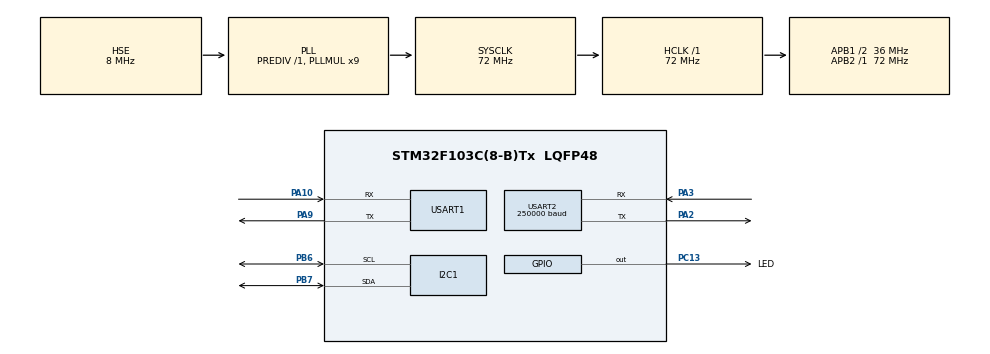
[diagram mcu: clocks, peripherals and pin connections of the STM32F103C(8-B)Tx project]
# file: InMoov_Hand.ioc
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Dma.Request0=USART1_RX
Dma.Request1=USART2_TX
Dma.USART1_RX.0.Direction=DMA_PERIPH_TO_MEMORY
Dma.USART1_RX.0.Instance=DMA1_Channel5
Dma.USART1_RX.0.MemDataAlignment=DMA_MDATAALIGN_BYTE
Dma.USART1_RX.0.MemInc=DMA_MINC_ENABLE
Dma.USART1_RX.0.Mode=DMA_CIRCULAR
Dma.USART1_RX.0.PeriphDataAlignment=DMA_PDATAALIGN_BYTE
Dma.USART1_RX.0.PeriphInc=DMA_PINC_DISABLE
Dma.USART1_RX.0.Priority=DMA_PRIORITY_LOW
Dma.USART2_TX.1.Direction=DMA_MEMORY_TO_PERIPH
Dma.USART2_TX.1.Instance=DMA1_Channel7
Dma.USART2_TX.1.MemDataAlignment=DMA_MDATAALIGN_BYTE
Dma.USART2_TX.1.MemInc=DMA_MINC_ENABLE
Dma.USART2_TX.1.Mode=DMA_NORMAL
Dma.USART2_TX.1.PeriphDataAlignment=DMA_PDATAALIGN_BYTE
Dma.USART2_TX.1.PeriphInc=DMA_PINC_DISABLE
Dma.USART2_TX.1.Priority=DMA_PRIORITY_LOW
Mcu.Family=STM32F1
Mcu.Name=STM32F103C(8-B)Tx
Mcu.Package=LQFP48
NVIC.DMA1_Channel5_IRQn=true\:0\:0\:false\:false\:true\:false\:true\:true
NVIC.DMA1_Channel7_IRQn=true\:0\:0\:false\:false\:true\:false\:true\:true
NVIC.PriorityGroup=NVIC_PRIORITYGROUP_4
NVIC.USART1_IRQn=true\:0\:0\:false\:false\:true\:true\:true\:true
NVIC.USART2_IRQn=true\:0\:0\:false\:false\:true\:true\:true\:true
PA10.Mode=Asynchronous
PA10.Signal=USART1_RX
PA2.Mode=Asynchronous
PA2.Signal=USART2_TX
PA3.Mode=Asynchronous
PA3.Signal=USART2_RX
PA9.Mode=Asynchronous
PA9.Signal=USART1_TX
PB6.Mode=I2C
PB6.Signal=I2C1_SCL
PB7.Mode=I2C
PB7.Signal=I2C1_SDA
PC13-TAMPER-RTC.GPIO_Label=LED
PC13-TAMPER-RTC.Signal=GPIO_Output
PD0-OSC_IN.Mode=HSE-External-Oscillator
PD0-OSC_IN.Signal=RCC_OSC_IN
PD1-OSC_OUT.Mode=HSE-External-Oscillator
PD1-OSC_OUT.Signal=RCC_OSC_OUT
ProjectManager.HeapSize=0x200
ProjectManager.StackSize=0x400
ProjectManager.TargetToolchain=STM32CubeIDE
RCC.AHBFreq_Value=72000000
RCC.APB1CLKDivider=RCC_HCLK_DIV2
RCC.APB1Freq_Value=36000000
RCC.APB1TimFreq_Value=72000000
RCC.APB2Freq_Value=72000000
RCC.APB2TimFreq_Value=72000000
RCC.HCLKFreq_Value=72000000
RCC.PLLMUL=RCC_PLL_MUL9
RCC.PLLSourceVirtual=RCC_PLLSOURCE_HSE
RCC.SYSCLKFreq_VALUE=72000000
RCC.SYSCLKSource=RCC_SYSCLKSOURCE_PLLCLK
RCC.USBFreq_Value=72000000
USART1.VirtualMode=VM_ASYNC
USART2.BaudRate=250000
USART2.VirtualMode=VM_ASYNC
VP_SYS_VS_ND.Mode=No_Debug
board=custom

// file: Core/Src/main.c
/* USER CODE BEGIN Header */
/**
  ******************************************************************************
  * @file    main.c
  * @brief   Bluepill STM32F103 — Slave controller (UART1 DMA + framed control)
  *
  * Features:
  *  - UART1 RX via DMA + IDLE (ISR feeds streaming parser)
  *  - Frames: A (angles), V (per-finger ms/deg), A+V, G (global ms/deg)
  *  - Flags: MODE:(MANUAL|AUTO), LOOP:(0|1), N:(motor count up to MAX_MOTORS)
  *  - Step-per-degree motion (default 30 ms/deg), per-finger latching on V>0
  *  - Watchdog -> glide to SAFE pose if master silent (AUTO mode only)
  *  - UART2 telemetry: ETA:ms on new move, DONE on arrival, ERR:WATCHDOG
  *
  * Master: Raspberry Pi / Node-RED (or any host)
  * Slave : STM32 “Bluepill”
  ******************************************************************************
  ***********Robotic Arm Motorized- Genaric Hand control Via Node-RED***********
  ******************************************************************************
  */
/* USER CODE END Header */
#include "main.h"
#include "dma.h"
#include "i2c.h"
#include "usart.h"
#include "gpio.h"

/* USER CODE BEGIN Includes */
#include <string.h>
#include <stdio.h>
#include "uart_dma.h"     // U1RX_Init / U1RX_Start / U1RX_OnUsartIrq
#include "motor_frame.h"  // updated streaming parser API (A,V,G,N,MODE,LOOP + legacy)
#include "PCA9685.h"
#include "log_uart.h"		// System logging on UART2

/* USER CODE END Includes */

/* USER CODE BEGIN PTD */
typedef struct {
  uint16_t angle;             // target angle (0..180)
  uint16_t speed_ms_per_deg;  // ms/degree (never 0 here; 0 only means "ignore" on input)
} FingerData;

typedef struct {
  uint16_t current;           // current servo angle
  uint16_t target;            // target servo angle
  uint16_t step_delay_ms;     // ms/degree for this channel
  uint32_t next_step_ms;      // next scheduling tick (HAL_GetTick-based)
} FingerMotion;
/* USER CODE END PTD */

/* USER CODE BEGIN PD */
#define SERVO_NUM				8u	// Number of servos by default
#define MAX_MOTORS              16u      // compile-time ceiling to bound RAM
#define UART2_TX_TIMEOUT_MS     5u
#define TX_THROTTLE_MS          20u
#define DEFAULT_STEP_DELAY_MS   20u      // default speed = 20 ms/deg
#define SERVO_MIN_ANGLE         0
#define SERVO_MAX_ANGLE         180
#define WATCHDOG_MS             800u     // no valid frame -> failsafe
#define I2C_WRITES_PER_LOOP     6u   // how many PCA writes we allow per loop
#define STALL_MS                800u // no movement progress for this long => recover

#ifndef MIN
#define MIN(a,b) ((a)<(b)?(a):(b))
#endif
/* USER CODE END PD */

/* USER CODE BEGIN PV */
static uint8_t   	g_motor_count = 8;                // runtime channels (clamped to SERVO_NUM)
static uint16_t 	g_global_ms_per_deg = DEFAULT_STEP_DELAY_MS;
static FingerData   g_finger[MAX_MOTORS];
static FingerMotion g_motion[MAX_MOTORS];
static uint16_t     g_servo_id[MAX_MOTORS];
static uint8_t      g_speed_latched[MAX_MOTORS];   // 0 = default, 1 = explicit speed set

// Safe pose (customize per build if desired)
static uint16_t SAFE_POSE[MAX_MOTORS] = { 0,0,0,0,0,90,0,0,  0,0,0,0,0,0,0,0 };

// For AUTO + LOOP ping-pong
static uint16_t g_last_cmd_angles[MAX_MOTORS];
static uint8_t  g_have_last_cmd = 0;
static uint8_t  g_auto_flip = 0;

// Timers/state
static uint32_t s_last_tx_ms  = 0;                 // telemetry throttle
static uint32_t s_last_cmd_ms = 0;                 // last command time (watchdog)
static uint32_t s_move_start_ms = 0;               // Move start timestamp
static uint8_t  s_step_active = 0;                 // motion in progress
static uint8_t  s_in_failsafe = 0;                 // failsafe already engaged
/* USER CODE END PV */

void SystemClock_Config(void);
/* USER CODE BEGIN PFP */
static inline uint16_t clamp_u16(int v, int lo, int hi){
	v = (v < lo) ? lo : (v > hi ? hi : v);
	    return (uint16_t)v;
}
static void send_line(UART_HandleTypeDef* huart,const char *s);
static void send_snapshot_uart2(void);
static void Motion_Init(uint8_t count);
static void Motion_Update(uint8_t count);
static uint8_t all_reached(uint8_t count);
static void apply_targets_from_parser(uint32_t mask, uint8_t count, uint8_t *out_touched_angles);
static void handle_meta_updates(void);

// Make the recover available to main.c
void PCA9685_BusRecover(void) {
  HAL_I2C_DeInit(&hi2c1);
  HAL_Delay(2);
  MX_I2C1_Init();
  HAL_Delay(1);
}

/* USER CODE END PFP */

int main(void)
{

  /* MCU Configuration--------------------------------------------------------*/

  /* Reset of all peripherals, Initializes the Flash interface and the Systick. */
  HAL_Init();

  /* Configure the system clock */
  SystemClock_Config();

  /* Initialize all configured peripherals */
  MX_GPIO_Init();
  MX_DMA_Init();
  MX_USART2_UART_Init();
  MX_USART1_UART_Init();
  MX_I2C1_Init();
  /* USER CODE BEGIN 2 */
  LOG_Init(&huart2);
  /* Boot banner */
  LOGI("Booting Bluepill slave (UART1 DMA+CIRCULAR, I2C1 PB6/PB7) - Version V1.1");

  U1RX_Init(&huart1);   // config UART1 for DMA circular + IDLE
  U1RX_Start();         // starts HAL_UART_Receive_DMA + enables UART_IT_IDLE
  LOGI("Init PCA9685 @ 50Hz");
    PCA9685_Init(50);

    /* Determine initial motor count (clamped to hardware) */
    uint8_t req = MF_GetMotorCount();                 // parser default=8 before any N:
    g_motor_count = MIN(MAX_MOTORS, (req ? req : g_motor_count));
    if (g_motor_count == 0) g_motor_count = 8;        // safe boot default

      /* Initialize the outputs for the available channels */
      for (uint8_t i = 0; i < g_motor_count; i++) {
        g_servo_id[i] = i;	// Intilaize the Instance for Motors 0-15

//	char line[32];
//			int n = snprintf(line, sizeof(line), "Servo Instance:%u Init\n", i);
//			if (n>0) send_line(&huart2, line);
			LOGI("Servo Instance initialized %u \n",g_servo_id[i]);
      }

      /* Initialize local motion state */
      Motion_Init(g_motor_count);

      /* Visual heartbeat */
      for (int i = 0; i < 6; i++) { HAL_GPIO_TogglePin(LED_GPIO_Port, LED_Pin); HAL_Delay(80); }

      s_last_cmd_ms = HAL_GetTick();
      s_in_failsafe = 0;
      LOGI("System Started\n");
  /* USER CODE END 2 */

  /* Infinite loop */
  /* USER CODE BEGIN WHILE */
  while (1)
  {
	LOG_Poll();   // keep UART2 DMA moving
//	LOGI("System While Loop Start\n");
    /* USER CODE END WHILE */

    /* USER CODE BEGIN 3 */
    /* 1) Handle meta updates (MODE / LOOP / N:count / G:global speed) */
    handle_meta_updates();
    /* 2) Handle per-motor updates (A / V / A+V / legacy F-records) */
    uint8_t touched_angles = 0;
    uint32_t mask = MF_GetUpdatedMask();
    if (mask) {

      apply_targets_from_parser(mask, g_motor_count, &touched_angles);
      MF_ClearUpdatedMask(mask);

      // Mark timing/status for this batch
      s_step_active = 1;
      s_move_start_ms = s_last_cmd_ms = HAL_GetTick();
      s_in_failsafe = 0;

       uint32_t now = HAL_GetTick();
      if ((now - s_last_tx_ms) >= TX_THROTTLE_MS) {
        send_snapshot_uart2();
        LOGD("Snapshot: %u motors; F1:%u,%u ...", g_motor_count, g_motion[0].target, g_motion[0].step_delay_ms);
        HAL_GPIO_TogglePin(LED_GPIO_Port, LED_Pin);
        s_last_tx_ms = now;
      }
    }

    /* 3) Step the motion planner (non-blocking) */
    Motion_Update(g_motor_count);
    /* Progress watchdog: if we're "moving" but angle sum hasn't changed for a while,
       the bus is likely wedged. Recover I2C, re-init PCA, and re-send current angles. */
    {
      static uint32_t last_sum = 0, last_progress_ms = 0;
      uint32_t now = HAL_GetTick();

      // Sum of current angles as a cheap movement-progress proxy
      uint32_t sum = 0;
      for (uint8_t i=0;i<g_motor_count;i++) sum += g_motion[i].current;

      if (s_step_active) {
        if (sum != last_sum) {
          last_sum = sum;
          last_progress_ms = now;
        } else if ((now - last_progress_ms) > STALL_MS) {
          // 1) Bus recover + PCA re-init
          HAL_I2C_DeInit(&hi2c1); HAL_Delay(2); MX_I2C1_Init(); HAL_Delay(1);
          PCA9685_Init(50);

          // 2) Re-send the *current* angles so the chip and our state are in sync
          for (uint8_t i=0;i<g_motor_count;i++) {
            PCA9685_SetServoAngle(g_servo_id[i], g_motion[i].current);
            g_motion[i].next_step_ms = now; // nudge next steps immediately
          }

          // 3) Tell the host (UART1) and your console (UART2)
          send_line(&huart1, "ERR:I2CSTALL\n");
          LOGI("I2C recovered & PCA re-synced");

          last_progress_ms = now; // reset stall timer
        }
      } else {
        last_sum = sum;
        last_progress_ms = now;
      }
    }

    /* 4) Completion notification (DONE) + optional AUTO loop */
    if (s_step_active) {
      if (all_reached(g_motor_count)) {
        uint32_t elapsed_ms = HAL_GetTick() - s_move_start_ms;
        char line[32];
        int n = snprintf(line, sizeof(line), "ELAPSED:%lu\n", (unsigned long)elapsed_ms);
        if (n>0) send_line(&huart1, line);
        send_line(&huart1,"DONE\n");
        s_last_cmd_ms = HAL_GetTick();   // grace time after completion
        s_step_active = 0;

        if (MF_GetMode() == MF_MODE_AUTO && g_have_last_cmd) {
          g_auto_flip ^= 1;
          for (uint8_t i=0;i<g_motor_count;i++){
            uint16_t tgt = g_auto_flip ? SAFE_POSE[i] : g_last_cmd_angles[i];
            g_motion[i].target = tgt;
          }
          s_step_active = 1;
          s_last_cmd_ms = HAL_GetTick();
        }
      }
    }

    /* 5) RX watchdog -> glide to SAFE pose once (disabled in MANUAL mode) */
    uint32_t now = HAL_GetTick();
    uint8_t mode = MF_GetMode();
    if (!s_in_failsafe
        && WATCHDOG_MS
        && (mode == MF_MODE_AUTO)   /* only enforce WD in AUTO */
        && (now - s_last_cmd_ms) > WATCHDOG_MS)
    {
      for (uint8_t i=0;i<g_motor_count;i++){
        g_motion[i].target        = SAFE_POSE[i];
        g_motion[i].step_delay_ms = DEFAULT_STEP_DELAY_MS;
      }
      s_in_failsafe = 1;
      send_line(&huart1,"ERR:WATCHDOG\n");
      s_last_cmd_ms = now;  // avoid RX watchdog during recovery

    }
  }
  /* USER CODE END 3 */
}

void SystemClock_Config(void)
{
  RCC_OscInitTypeDef RCC_OscInitStruct = {0};
  RCC_ClkInitTypeDef RCC_ClkInitStruct = {0};

  /** Initializes the RCC Oscillators according to the specified parameters
  * in the RCC_OscInitTypeDef structure.
  */
  RCC_OscInitStruct.OscillatorType = RCC_OSCILLATORTYPE_HSE;
  RCC_OscInitStruct.HSEState = RCC_HSE_ON;
  RCC_OscInitStruct.HSEPredivValue = RCC_HSE_PREDIV_DIV1;
  RCC_OscInitStruct.HSIState = RCC_HSI_ON;
  RCC_OscInitStruct.PLL.PLLState = RCC_PLL_ON;
  RCC_OscInitStruct.PLL.PLLSource = RCC_PLLSOURCE_HSE;
  RCC_OscInitStruct.PLL.PLLMUL = RCC_PLL_MUL9;
  if (HAL_RCC_OscConfig(&RCC_OscInitStruct) != HAL_OK)
  {
    Error_Handler();
  }

  /** Initializes the CPU, AHB and APB buses clocks
  */
  RCC_ClkInitStruct.ClockType = RCC_CLOCKTYPE_HCLK|RCC_CLOCKTYPE_SYSCLK
                              |RCC_CLOCKTYPE_PCLK1|RCC_CLOCKTYPE_PCLK2;
  RCC_ClkInitStruct.SYSCLKSource = RCC_SYSCLKSOURCE_PLLCLK;
  RCC_ClkInitStruct.AHBCLKDivider = RCC_SYSCLK_DIV1;
  RCC_ClkInitStruct.APB1CLKDivider = RCC_HCLK_DIV2;
  RCC_ClkInitStruct.APB2CLKDivider = RCC_HCLK_DIV1;

  if (HAL_RCC_ClockConfig(&RCC_ClkInitStruct, FLASH_LATENCY_2) != HAL_OK)
  {
    Error_Handler();
  }
}

/* USER CODE BEGIN 4 */
/* ────────────────────────── Local helpers ───────────────────────────────── */
static void send_line(UART_HandleTypeDef* huart, const char *s)
{
  HAL_UART_Transmit(huart, (uint8_t*)s, (uint16_t)strlen(s), 100);
}

/* Human-readable mirror on UART2: "F#:angle,speed;..." */
static void send_snapshot_uart2(void)
{
  char line[192];
  int off = snprintf(line, sizeof(line), "SNAP N=%u |", g_motor_count);
  for (uint8_t i = 0; i < g_motor_count && off < (int)sizeof(line)-12; ++i) {
    off += snprintf(line+off, sizeof(line)-off, " %u:%u,%u;", i,
                    (unsigned)g_motion[i].target,
                    (unsigned)g_motion[i].step_delay_ms);
  }
  LOGI("%s", line);
}

/* Initialize motion tables to SAFE pose at default speed */
static void Motion_Init(uint8_t count)
{
	TRACE_IN();

  uint32_t now = HAL_GetTick();

  for (uint8_t i=0;i<count;i++){
    g_speed_latched[i]           = 0;
    g_finger[i].angle            = SAFE_POSE[i];
    g_finger[i].speed_ms_per_deg = g_global_ms_per_deg;

    g_motion[i].current          = SAFE_POSE[i];
    g_motion[i].target           = SAFE_POSE[i];
    g_motion[i].step_delay_ms    = g_global_ms_per_deg;
    g_motion[i].next_step_ms     = now;
    LOGI("INIT %s: cur=%u tgt=%u step=%u latch=%u G=%u",
		 MF_MotorName(i),
         (unsigned)g_motion[i].current,
         (unsigned)g_motion[i].target,
         (unsigned)g_motion[i].step_delay_ms,
         (unsigned)g_speed_latched[i],
         (unsigned)g_global_ms_per_deg);

    PCA9685_SetServoAngle(g_servo_id[i], SAFE_POSE[i]);
    g_last_cmd_angles[i]         = SAFE_POSE[i];
  }
  g_have_last_cmd = 0;
  g_auto_flip = 0;
  TRACE_OUT();
}

/* Simple per-degree stepping (non-blocking, I2C-safe round-robin) */
static void Motion_Update(uint8_t count)
{

  static uint8_t rr = 0;  // round-robin cursor
  uint32_t now = HAL_GetTick();
  uint8_t quota = I2C_WRITES_PER_LOOP;
  uint8_t start = rr;

  for (uint8_t k = 0; k < count && quota; ++k) {
    uint8_t i = (uint8_t)((start + k) % count);

    if (g_motion[i].current == g_motion[i].target) continue;
    if ((int32_t)(now - g_motion[i].next_step_ms) < 0) continue;

    // If I2C isn't ready, back off a hair and try later (don't pile up writes)
    if (HAL_I2C_GetState(&hi2c1) != HAL_I2C_STATE_READY) {
      g_motion[i].next_step_ms = now + 2;
      break; // give the bus a moment
    }

    if (g_motion[i].current < g_motion[i].target) g_motion[i].current++;
    else                                          g_motion[i].current--;

    PCA9685_SetServoAngle(g_servo_id[i], g_motion[i].current);
    g_motion[i].next_step_ms = now + g_motion[i].step_delay_ms;
    quota--;
  }

  rr = (uint8_t)((start + 1) % count);

  LOGD_EVERY(50, "Motion_Update active; rr=%u", rr);  // once every 50 ms
}

static uint8_t all_reached(uint8_t count)
{
	TRACE_IN();

  for (uint8_t i=0;i<count;i++){
    if (g_motion[i].current != g_motion[i].target) return 0;
  }
  return 1;

  TRACE_OUT();
}

/**
 * @brief Commit A/V updates from parser. Also remembers last A: set
 *        to enable simple AUTO+LOOP ping-pong between SAFE and last A list.
 */
static void apply_targets_from_parser(uint32_t mask, uint8_t count, uint8_t *out_touched_angles)
{
  TRACE_IN();

#if LOG_LEVEL >= LOG_LEVEL_INFO
  LOGI(">> %lu %s()", (unsigned long)HAL_GetTick(), __func__);
#endif

  uint8_t touched = 0;                 // local flag (avoids repeated *out_touched_angles writes)
  uint32_t msk = mask;                 // walk the update mask bit-by-bit

  for (uint8_t i = 0; (i < count) && msk; ++i, msk >>= 1) {
    if ((msk & 1u) == 0u) continue;    // no update for channel i this frame

    // Snapshot old values once (for logs)
    uint16_t old_tgt   = g_motion[i].target;
    uint16_t old_step  = g_motion[i].step_delay_ms;
    uint8_t  old_latch = g_speed_latched[i];

    // ---- Angle (A) ----
    const MF_Motor m = MF_GetState(i);               // small POD; fetched once
    uint16_t tgt = clamp_u16(m.angle, SERVO_MIN_ANGLE, SERVO_MAX_ANGLE);
    g_finger[i].angle  = tgt;
    g_motion[i].target = tgt;

    if (tgt != old_tgt) {
      touched = 1;
      LOGI("A %s: %u -> %u", MF_MotorName(i), (unsigned)old_tgt, (unsigned)tgt);
    }

    // ---- Speed (V) ----
    // Only grab time if we actually change the schedule.
    if (m.speed_ms_per_deg > 0) {
      // Per-motor latch: V > 0
      uint16_t step_ms = (uint16_t)m.speed_ms_per_deg;
      g_finger[i].speed_ms_per_deg = step_ms;
      g_motion[i].step_delay_ms    = step_ms;
      g_speed_latched[i]           = 1;

      // take effect mid-move
      uint32_t now_ms = HAL_GetTick();
      g_motion[i].next_step_ms     = now_ms;

      if ((old_step != step_ms) || (old_latch != 1)) {
        LOGI("V latch %s: step %u->%u, latch %u->1",
        	MF_MotorName(i), (unsigned)old_step, (unsigned)step_ms, (unsigned)old_latch);
      }
    } else {
      // V == 0 → unlatch and follow current global (if we were latched)
      if (old_latch) {
        g_speed_latched[i]           = 0;
        g_finger[i].speed_ms_per_deg = g_global_ms_per_deg;
        g_motion[i].step_delay_ms    = g_global_ms_per_deg;

        uint32_t now_ms = HAL_GetTick();
        g_motion[i].next_step_ms     = now_ms;

        LOGI("V unlatch % -> follow G=%u",
			MF_MotorName(i), (unsigned)g_global_ms_per_deg);

        if ((old_step != g_motion[i].step_delay_ms) || (old_latch != 0)) {
          LOGI("S %u: step %u->%u, latch %u->0",
			  MF_MotorName(i), (unsigned)old_step, (unsigned)g_motion[i].step_delay_ms, (unsigned)old_latch);
        }
      } else {
        // already following global; keep in sync silently (no extra logs)
        g_finger[i].speed_ms_per_deg = g_global_ms_per_deg;
        g_motion[i].step_delay_ms    = g_global_ms_per_deg;
      }
    }
  }

  // Remember last full A: only when at least one angle changed
  if (touched) {
    for (uint8_t i = 0; i < count; ++i) {
      g_last_cmd_angles[i] = g_motion[i].target;
    }
    g_have_last_cmd = 1;
  }

  if (out_touched_angles) *out_touched_angles = touched;

  TRACE_OUT();

#if LOG_LEVEL >= LOG_LEVEL_INFO
  LOGI("<< %lu %s()", (unsigned long)HAL_GetTick(), __func__);
#endif
}

/**
 * @brief React to meta updates from parser:
 *        - N: motor count
 *        - G: global speed
 *        - MODE: MANUAL/AUTO
 *        - LOOP: 0/1
 *
 * Parser exposes a bitmask MF_GetMetaUpdates() so we only touch what changed.
 */
// Handle protocol meta-updates from the framed parser.
// Applies: N (count), G (global speed), MODE, LOOP
// Emits:   DONE:MODE=..., DONE:LOOP=..., DONE:G=..., DONE:N=...
static void handle_meta_updates(void)
{
	TRACE_IN();
  uint8_t meta = MF_GetMetaUpdates();
  if (!meta) return;

  /* Any meta activity counts as host activity */
  s_last_cmd_ms = HAL_GetTick();
  s_in_failsafe = 0;

  /* 1) Motor count (N) — clamp and (re)initialise motion if it changed */
  if (meta & MF_META_COUNT) {
    uint8_t req = MF_GetMotorCount();
    uint8_t new_count = MIN(MAX_MOTORS, MIN(SERVO_NUM, (req ? req : g_motor_count)));
    if (new_count != g_motor_count) {
      g_motor_count = new_count;
      LOGI("N request=%u, current=%u", (unsigned)req, (unsigned)g_motor_count);
      /* (Re)initialise any channels now addressable (idempotent for existing) */
      for (uint8_t i = 0; i < g_motor_count; ++i) {
        if (i >= SERVO_NUM) break;
        g_servo_id[i] = i;	// Initialize the Servo Instance for PCA9685 module
      }
      Motion_Init(g_motor_count);
    }

    TRACE_OUT();

  }

  /* 2) Global speed (G) — apply uniformly (overrides per-channel), immediate effect */
  if (meta & MF_META_GSPEED) {
    uint16_t gs = MF_GetGlobalSpeed();
    if (gs > 0) {
      uint16_t oldG = g_global_ms_per_deg;
      g_global_ms_per_deg = gs;

      uint32_t now = HAL_GetTick();
      LOGI("G global: %u -> %u ms/deg (override)", (unsigned)oldG, (unsigned)gs);

      for (uint8_t i = 0; i < g_motor_count; ++i) {
        uint16_t old_step  = g_motion[i].step_delay_ms;
        uint8_t  old_latch = g_speed_latched[i];

        g_finger[i].speed_ms_per_deg = gs;
        g_motion[i].step_delay_ms    = gs;
        g_motion[i].next_step_ms     = now;   // immediate effect
        g_speed_latched[i]           = 0;     // ✅ clear latch so G truly overrides

        if (old_step != gs || old_latch != 0) {
          LOGI("G apply %s: step %u->%u, latch %u->0",
			  MF_MotorName(i), (unsigned)old_step, (unsigned)gs, (unsigned)old_latch);
        }
      }
    }
  }

  /* 3) MODE / LOOP: no immediate motion here; the main loop reads getters */

  /* 4) ACKs (tagged lines; won't trigger plain-DONE repeaters) */
  if (meta & MF_META_MODE) {
    const char *m = (MF_GetMode() == MF_MODE_AUTO) ? "AUTO" : "MANUAL";
    char line[24];
    int n = snprintf(line, sizeof(line), "DONE:MODE=%s\n", m);
    if (n > 0) send_line(&huart1, line);
    LOGI("System Mode applied = %s", m);
  }
  if (meta & MF_META_LOOP) {
    char line[24];
    int n = snprintf(line, sizeof(line), "DONE:LOOP=%u\n", (unsigned)MF_GetLoop());
    if (n > 0) send_line(&huart1, line);
    LOGI("LOOP Mode applied = %u", (unsigned)MF_GetLoop());
  }
  if (meta & MF_META_GSPEED) {
    char line[24];
    int n = snprintf(line, sizeof(line), "DONE:G=%u\n", (unsigned)MF_GetGlobalSpeed());
    if (n > 0) send_line(&huart1, line);
    LOGI("G applied = %u", (unsigned)MF_GetGlobalSpeed());
  }
  if (meta & MF_META_COUNT) {
    char line[24];

    int n = snprintf(line, sizeof(line), "DONE:N=%u\n", (unsigned)MF_GetMotorCount());
    if (n > 0) send_line(&huart1, line);
    LOGI("N applied = %u", g_motor_count);
  }

  /* 5) Clear handled bits */
  MF_ClearMetaUpdates(meta);

}

/* USER CODE END 4 */

void Error_Handler(void)
{
  __disable_irq();
  while (1)
  {
  }
}
#ifdef USE_FULL_ASSERT
/**
  * @brief  Reports the name of the source file and the source line number
  *         where the assert_param error has occurred.
  * @param  file: pointer to the source file name
  * @param  line: assert_param error line source number
  * @retval None
  */
void assert_failed(uint8_t *file, uint32_t line)
{
  /* USER CODE BEGIN 6 */
	(void)file; (void)line;
  /* User can add his own implementation to report the file name and line number,
     ex: printf("Wrong parameters value: file %s on line %d\r\n", file, line) */
  /* USER CODE END 6 */
}
#endif /* USE_FULL_ASSERT */
